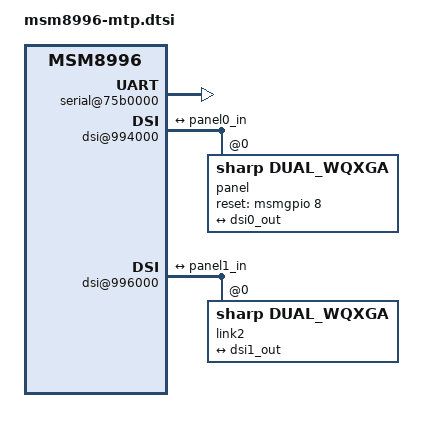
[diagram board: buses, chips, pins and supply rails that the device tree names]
/*
 * Copyright (c) 2014-2015, The Linux Foundation. All rights reserved.
 *
 * This program is free software; you can redistribute it and/or modify
 * it under the terms of the GNU General Public License version 2 and
 * only version 2 as published by the Free Software Foundation.
 *
 * This program is distributed in the hope that it will be useful,
 * but WITHOUT ANY WARRANTY; without even the implied warranty of
 * MERCHANTABILITY or FITNESS FOR A PARTICULAR PURPOSE.  See the
 * GNU General Public License for more details.
 */

#include "msm8996.dtsi"

/ {
	aliases {
		serial0 = &blsp2_uart1;
	};

	chosen {
		stdout-path = "serial0";
	};

	soc {
		serial@75b0000 {
			status = "okay";
		};

		mdss@900000 {
			status = "okay";

			mdp@901000 {
				status = "okay";
			};

			dsi@994000 {
				status = "okay";

				qcom,dual-dsi-mode;
				qcom,master-dsi;
				qcom,sync-dual-dsi;

				panel@0 {
					compatible = "sharp,dual_wqxga";
					reg = <0>;
					link2 = <&link2>;

					reset-gpios = <&msmgpio 8 0>;

					display-timings {
						timing0: timing-0 {
						clock-frequency = <285405120>;
						hactive = <1600>;
						vactive = <2560>;
						hfront-porch = <152>;
						hback-porch = <64>;
						hsync-len = <32>;
						vfront-porch = <11>;
						vback-porch = <2>;
						vsync-len = <1>;
						};
					};

					port {
						panel0_in: endpoint {
							remote-endpoint = <&dsi0_out>;
						};
					};
				};

				ports {
					port@1 {
						endpoint {
							remote-endpoint = <&panel0_in>;
							data-lanes = <0 1 2 3>;
						};
					};
				};
			};

			dsi-phy@994400 {
				status = "okay";
			};

			dsi@996000 {
				status = "okay";

				qcom,dual-dsi-mode;
				qcom,sync-dual-dsi;

				link2: panel@0 {
					compatible = "sharp,dual_wqxga";
					reg = <0>;

					port {
						panel1_in: endpoint {
							remote-endpoint = <&dsi1_out>;
						};
					};
				};

				ports {
					port@1 {
						endpoint {
							remote-endpoint = <&panel1_in>;
							data-lanes = <0 1 2 3>;
						};
					};
				};
			};

			dsi-phy@996400 {
				status = "okay";
			};
		};
	};
};
